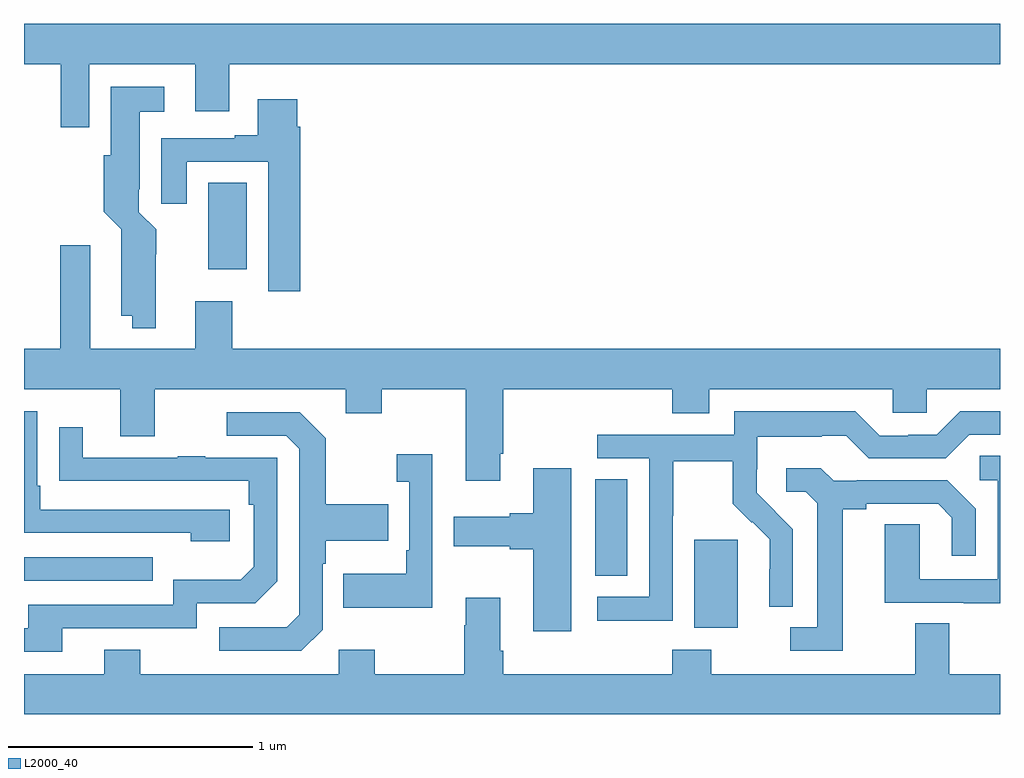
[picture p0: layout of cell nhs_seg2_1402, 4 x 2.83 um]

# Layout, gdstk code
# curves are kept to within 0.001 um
import gdstk
lib = gdstk.Library(unit=1e-6, precision=1e-09)
def R(c, l, rs):  # rectangles x0, y0, x1, y1
    for r in rs: c.add(gdstk.rectangle(r[:2], r[2:], *l))
def P(c, l, *ps):  # polygons
    for p in ps: c.add(gdstk.Polygon(p, *l))
L2000_40 = (2000, 40)

nhs_seg2_1402 = lib.new_cell('nhs_seg2_1402')
R(nhs_seg2_1402, L2000_40, [(185.747,657.314,185.926,657.675), (183,657.507,183.527,657.603), (185.342,657.526,185.473,657.923), (183.755,658.782,183.913,659.138)])
P(nhs_seg2_1402, L2000_40, [(183.267,659.624),(183.701,659.624),(183.701,659.43),(183.841,659.43),(183.841,659.624),(187,659.624),(187,659.788),(183,659.788),(183,659.624),(183.151,659.624),(183.151,659.364),(183.267,659.364)],
  [(183.54,658.844),(183.541,658.946),(183.471,659.016),(183.471,659.11),(183.475,659.11),(183.475,659.429),(183.574,659.429),(183.574,659.53),(183.356,659.53),(183.356,659.25),(183.326,659.25),(183.326,659.018),(183.398,658.946),(183.398,658.592),(183.443,658.592),(183.443,658.541),(183.54,658.541)],
  [(184.133,659.366),(184.12,659.366),(184.12,659.479),(183.959,659.479),(183.959,659.332),(183.863,659.332),(183.863,659.319),(183.563,659.319),(183.563,659.052),(183.667,659.052),(183.667,659.223),(184.001,659.223),(184.001,658.692),(184.133,658.692)],
  [(184.951,658.027),(184.964,658.027),(184.964,658.292),(185.657,658.292),(185.657,658.193),(185.809,658.193),(185.809,658.292),(186.561,658.292),(186.561,658.194),(186.699,658.194),(186.699,658.292),(187,658.292),(187,658.456),(183.854,658.456),(183.854,658.651),(183.701,658.651),(183.701,658.456),(183.271,658.456),(183.271,658.882),(183.149,658.882),(183.149,658.456),(183,658.456),(183,658.292),(183.395,658.292),(183.395,658.098),(183.535,658.098),(183.535,658.292),(184.319,658.292),(184.319,658.193),(184.467,658.193),(184.467,658.292),(184.811,658.292),(184.811,657.915),(184.951,657.915)],
  [(185.658,657.772),(185.661,657.772),(185.661,657.996),(185.905,657.996),(185.905,657.821),(185.982,657.744),(185.985,657.747),(186.056,657.677),(186.056,657.554),(186.054,657.554),(186.054,657.4),(186.15,657.4),(186.15,657.718),(186.004,657.866),(186.004,657.963),(186.006,657.963),(186.006,658.097),(186.269,658.097),(186.269,658.101),(186.369,658.101),(186.462,658.008),(186.777,658.008),(186.873,658.104),(187,658.104),(187,658.2),(186.837,658.2),(186.741,658.104),(186.623,658.104),(186.623,658.101),(186.507,658.101),(186.407,658.201),(185.91,658.201),(185.91,658.104),(185.349,658.104),(185.349,658.008),(185.562,658.008),(185.562,657.441),(185.349,657.441),(185.349,657.343),(185.658,657.343)],
  [(183.844,657.798),(183.067,657.798),(183.067,657.895),(183.054,657.895),(183.054,658.2),(183,658.2),(183,657.702),(183.683,657.702),(183.683,657.668),(183.844,657.668)],
  [(184.224,657.306),(184.224,657.575),(184.237,657.575),(184.237,657.671),(184.493,657.671),(184.493,657.819),(184.237,657.819),(184.237,658.091),(184.131,658.197),(183.831,658.197),(183.831,658.101),(184.074,658.101),(184.128,658.047),(184.128,657.366),(184.077,657.315),(183.801,657.315),(183.801,657.219),(184.137,657.219)],
  [(183.157,657.312),(183.708,657.312),(183.708,657.414),(183.948,657.414),(184.038,657.504),(184.038,658.011),(183.743,658.011),(183.743,658.016),(183.631,658.016),(183.631,658.011),(183.241,658.011),(183.241,658.135),(183.145,658.135),(183.145,657.916),(183.922,657.915),(183.922,657.818),(183.942,657.818),(183.942,657.564),(183.889,657.511),(183.612,657.511),(183.612,657.408),(183.017,657.408),(183.017,657.312),(183,657.312),(183,657.216),(183.157,657.216)],
  [(184.674,658.024),(184.527,658.024),(184.527,657.911),(184.578,657.911),(184.578,657.631),(184.566,657.631),(184.566,657.535),(184.309,657.535),(184.309,657.395),(184.674,657.395)],
  [(187,658.019),(186.918,658.019),(186.918,657.918),(186.99,657.918),(186.99,657.513),(186.672,657.513),(186.672,657.737),(186.527,657.737),(186.527,657.417),(186.851,657.417),(186.851,657.413),(187,657.413)],
  [(185.242,657.967),(185.087,657.967),(185.087,657.782),(184.991,657.782),(184.991,657.769),(184.761,657.769),(184.761,657.647),(184.991,657.647),(184.991,657.635),(185.087,657.635),(185.087,657.3),(185.242,657.3)],
  [(186.355,657.8),(186.451,657.8),(186.451,657.822),(186.746,657.822),(186.803,657.765),(186.803,657.609),(186.9,657.609),(186.9,657.802),(186.784,657.918),(186.412,657.918),(186.412,657.915),(186.318,657.915),(186.266,657.967),(186.123,657.967),(186.123,657.87),(186.204,657.87),(186.251,657.823),(186.251,657.315),(186.141,657.315),(186.141,657.219),(186.355,657.219)],
  [(187,657.124),(186.793,657.124),(186.793,657.332),(186.653,657.332),(186.653,657.124),(185.817,657.124),(185.817,657.223),(185.657,657.223),(185.657,657.124),(184.964,657.124),(184.964,657.22),(184.951,657.22),(184.951,657.436),(184.811,657.436),(184.811,657.323),(184.804,657.323),(184.804,657.124),(184.437,657.124),(184.437,657.223),(184.29,657.223),(184.29,657.124),(183.477,657.124),(183.477,657.223),(183.329,657.223),(183.329,657.124),(183,657.124),(183,656.96),(187,656.96)])

lib.write_gds('nhs_seg2_1402.gds')
